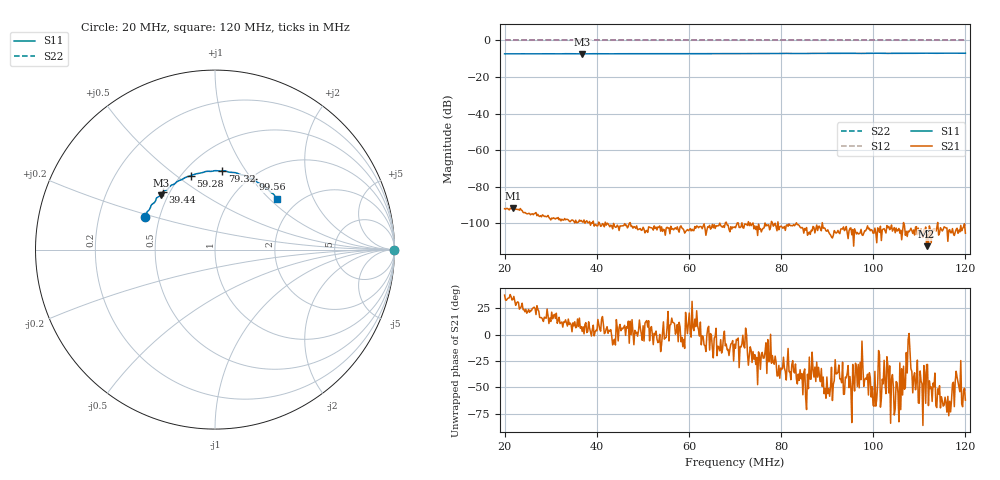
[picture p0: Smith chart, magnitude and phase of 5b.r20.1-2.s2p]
! Anritsu VNA Master:  Model: MS2036C/10/77
! SN:  1601066
! /card0/usr/18may27.balun/5b.r20.s2p
! Existing Calibration Information:
! TYPE:  Current Settings,  Active Cal Settings
! TIME:  05/27/2018 03:33:33 PM,  05/27/2018 03:21:57 PM
! INTERNAL TEMP:  53.0 C,  52.3 C
! # POINTS:  500,  500
! START FREQ:  20.000 MHz,  20.000 MHz
! STOP FREQ:  120.000 MHz,  120.000 MHz
! SOURCE POWER:  High,  High
! IFBW:  50 Hz,  50 Hz
! AVG FACTOR:  1 ,  1
! REF PLANE 1:  0 mm,  0 mm
! REF PLANE 2:  0 mm,  0 mm
! CAL TYPE:  Full S11,  Full S11
! CAL METHOD:  SOLT,  SOLT
! CAL LINE TYPE:  Coax,  Coax
! DUT PORT 1:  K-Conn(M),  K-Conn(M)
! DUT PORT 2:  K-Conn(M),  K-Conn(M)
! CAL STATUS:  OK: Accuracy High,  --
# GHZ S DB R 50.0
! FREQ.GHZ  S11DB  S11A  S21DB  S21A  S12DB  S12A  S22DB  S22A
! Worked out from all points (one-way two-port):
!   500 points, 20 MHz to 120 MHz, reference 50 ohm
!   highest |S21| = -91.75 dB at 21.8 MHz (marker M1); lowest = -112.6 dB at 111.6 MHz (marker M2)
!   lowest |S11| = -7.4 dB at 36.83 MHz (marker M3), VSWR 2.49, Z = 22.9 + j17 ohm
!   |S11| at or under -10 dB: nowhere
!   |S22| runs from 0.0 to 0.0 dB; largest |S21 - S12| = 1
!   S11 on the Smith chart (normalised r, x): 20 MHz: 0.42, +0.18; 39.44 MHz: 0.46, +0.37; 59.28 MHz: 0.56, +0.57; 79.32 MHz: 0.72, +0.79; 99.56 MHz: 1.03, +1.01; 120 MHz: 1.58, +1.11
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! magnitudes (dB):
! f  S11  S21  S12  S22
! 20 MHz  -7.4  -92.1  0.0  0.0
! 21.8 MHz  -7.3  -91.7  0.0  0.0
! 23.41 MHz  -7.3  -92.0  0.0  0.0
! 25.61 MHz  -7.4  -95.4  0.0  0.0
! 28.62 MHz  -7.3  -96.4  0.0  0.0
! 31.22 MHz  -7.4  -97.2  0.0  0.0
! 33.63 MHz  -7.2  -97.9  0.0  0.0
! 36.83 MHz  -7.4  -99.2  0.0  0.0
! 39.44 MHz  -7.3  -101.6  0.0  0.0
! 42.44 MHz  -7.4  -100.3  0.0  0.0
! 44.85 MHz  -7.3  -104.0  0.0  0.0
! 53.47 MHz  -7.3  -102.2  0.0  0.0
! 59.28 MHz  -7.3  -104.6  0.0  0.0
! 70.1 MHz  -7.2  -102.5  0.0  0.0
! 79.32 MHz  -7.1  -99.3  0.0  0.0
! 86.73 MHz  -7.1  -104.2  0.0  0.0
! 94.95 MHz  -7.0  -102.9  0.0  0.0
! 97.56 MHz  -7.1  -106.4  0.0  0.0
! 99.56 MHz  -7.0  -103.6  0.0  0.0
! 103.4 MHz  -7.1  -101.8  0.0  0.0
! 111.6 MHz  -7.0  -112.6  0.0  0.0
! 120 MHz  -7.0  -105.6  0.0  0.0
